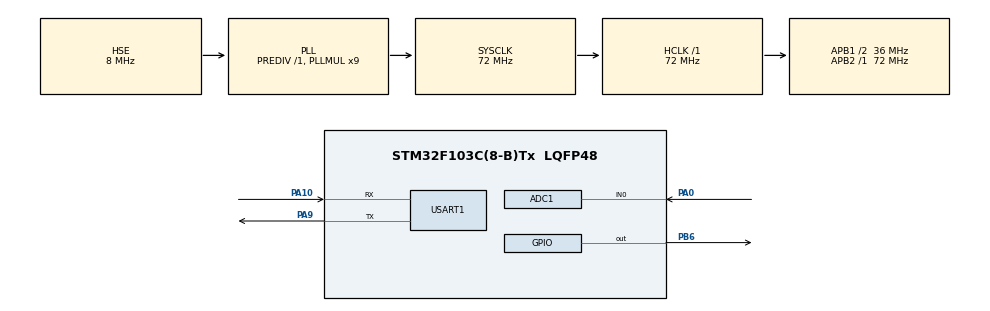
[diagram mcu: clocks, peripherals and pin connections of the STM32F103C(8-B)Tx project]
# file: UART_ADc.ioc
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ADC1.Channel-1\#ChannelRegularConversion=ADC_CHANNEL_0
ADC1.ContinuousConvMode=DISABLE
ADC1.ExternalTrigConv=ADC_EXTERNALTRIGCONV_T3_TRGO
ADC1.NbrOfConversionFlag=1
ADC1.Rank-1\#ChannelRegularConversion=1
ADC1.SamplingTime-1\#ChannelRegularConversion=ADC_SAMPLETIME_71CYCLES_5
ADC1.master=1
Dma.ADC1.0.Direction=DMA_PERIPH_TO_MEMORY
Dma.ADC1.0.Instance=DMA1_Channel1
Dma.ADC1.0.MemDataAlignment=DMA_MDATAALIGN_HALFWORD
Dma.ADC1.0.MemInc=DMA_MINC_ENABLE
Dma.ADC1.0.Mode=DMA_CIRCULAR
Dma.ADC1.0.PeriphDataAlignment=DMA_PDATAALIGN_HALFWORD
Dma.ADC1.0.PeriphInc=DMA_PINC_DISABLE
Dma.ADC1.0.Priority=DMA_PRIORITY_LOW
Dma.Request0=ADC1
Mcu.Family=STM32F1
Mcu.Name=STM32F103C(8-B)Tx
Mcu.Package=LQFP48
NVIC.DMA1_Channel1_IRQn=true\:0\:0\:false\:false\:true\:false\:true\:true
NVIC.PriorityGroup=NVIC_PRIORITYGROUP_4
PA0-WKUP.Signal=ADCx_IN0
PA10.Mode=Asynchronous
PA10.Signal=USART1_RX
PA13.Mode=Serial_Wire
PA13.Signal=SYS_JTMS-SWDIO
PA14.Mode=Serial_Wire
PA14.Signal=SYS_JTCK-SWCLK
PA9.Mode=Asynchronous
PA9.Signal=USART1_TX
PB6.Signal=GPIO_Output
PD0-OSC_IN.Mode=HSE-External-Oscillator
PD0-OSC_IN.Signal=RCC_OSC_IN
PD1-OSC_OUT.Mode=HSE-External-Oscillator
PD1-OSC_OUT.Signal=RCC_OSC_OUT
ProjectManager.HeapSize=0x200
ProjectManager.StackSize=0x400
ProjectManager.TargetToolchain=STM32CubeIDE
RCC.ADCPresc=RCC_ADCPCLK2_DIV6
RCC.AHBFreq_Value=72000000
RCC.APB1CLKDivider=RCC_HCLK_DIV2
RCC.APB1Freq_Value=36000000
RCC.APB1TimFreq_Value=72000000
RCC.APB2Freq_Value=72000000
RCC.APB2TimFreq_Value=72000000
RCC.HCLKFreq_Value=72000000
RCC.PLLMUL=RCC_PLL_MUL9
RCC.PLLSourceVirtual=RCC_PLLSOURCE_HSE
RCC.SYSCLKFreq_VALUE=72000000
RCC.SYSCLKSource=RCC_SYSCLKSOURCE_PLLCLK
RCC.USBFreq_Value=72000000
SH.ADCx_IN0.0=ADC1_IN0,IN0
TIM3.Period=99
TIM3.Prescaler=7199
TIM3.TIM_MasterOutputTrigger=TIM_TRGO_UPDATE
USART1.VirtualMode=VM_ASYNC
VP_TIM3_VS_ClockSourceINT.Mode=Internal
board=custom

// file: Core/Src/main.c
/* USER CODE BEGIN Header */
/**
  ******************************************************************************
  * @file           : main.c
  * @brief          : Main program body
  ******************************************************************************
  * @attention
  *
  * Copyright (c) 2026 STMicroelectronics.
  * All rights reserved.
  *
  * This software is licensed under terms that can be found in the LICENSE file
  * in the root directory of this software component.
  * If no LICENSE file comes with this software, it is provided AS-IS.
  *
  ******************************************************************************
  */
/* USER CODE END Header */
#include "main.h"

/* USER CODE BEGIN Includes */

#include <stdio.h>
#include <string.h>

/* USER CODE END Includes */

ADC_HandleTypeDef hadc1;
DMA_HandleTypeDef hdma_adc1;

TIM_HandleTypeDef htim3;

UART_HandleTypeDef huart1;

/* USER CODE BEGIN PV */
//uint32_t adc_value = 0;
char msg[50];

#define ADC_BUFFER_SIZE 32

uint16_t adc_buffer[ADC_BUFFER_SIZE];

volatile uint8_t adc_ready = 0;
volatile uint8_t adc_half_ready = 0;
/* USER CODE END PV */

void SystemClock_Config(void);
static void MX_GPIO_Init(void);
static void MX_DMA_Init(void);
static void MX_ADC1_Init(void);
static void MX_USART1_UART_Init(void);
static void MX_TIM3_Init(void);
/* USER CODE BEGIN PFP */
uint16_t compute_avg(uint16_t *buffer, uint16_t size);
float to_voltage(uint16_t adc);
void process_output(float voltage);
/* USER CODE END PFP */

int main(void)
{

  /* MCU Configuration--------------------------------------------------------*/

  /* Reset of all peripherals, Initializes the Flash interface and the Systick. */
  HAL_Init();

  /* Configure the system clock */
  SystemClock_Config();

  /* Initialize all configured peripherals */
  MX_GPIO_Init();
  MX_DMA_Init();
  MX_ADC1_Init();
  MX_USART1_UART_Init();
  MX_TIM3_Init();
  /* USER CODE BEGIN 2 */
  HAL_TIM_Base_Start(&htim3);
  HAL_ADC_Start_DMA(&hadc1, (uint32_t*)adc_buffer, ADC_BUFFER_SIZE);

  /* USER CODE END 2 */

  /* Infinite loop */
  /* USER CODE BEGIN WHILE */
  while (1)
  {

	  if (adc_half_ready){
		  adc_half_ready = 0;
		  uint16_t avg = compute_avg(&adc_buffer[0], ADC_BUFFER_SIZE / 2);
		  float voltage = to_voltage(avg);
		  process_output(voltage);
	  }

	  if (adc_ready){
		  adc_ready = 0;
		  uint16_t avg = compute_avg(&adc_buffer[ADC_BUFFER_SIZE / 2], ADC_BUFFER_SIZE / 2);
		  float voltage = to_voltage(avg);
		  process_output(voltage);
	  }
    /* USER CODE END WHILE */

  }
}

void SystemClock_Config(void)
{
  RCC_OscInitTypeDef RCC_OscInitStruct = {0};
  RCC_ClkInitTypeDef RCC_ClkInitStruct = {0};
  RCC_PeriphCLKInitTypeDef PeriphClkInit = {0};

  /** Initializes the RCC Oscillators according to the specified parameters
  * in the RCC_OscInitTypeDef structure.
  */
  RCC_OscInitStruct.OscillatorType = RCC_OSCILLATORTYPE_HSE;
  RCC_OscInitStruct.HSEState = RCC_HSE_ON;
  RCC_OscInitStruct.HSEPredivValue = RCC_HSE_PREDIV_DIV1;
  RCC_OscInitStruct.HSIState = RCC_HSI_ON;
  RCC_OscInitStruct.PLL.PLLState = RCC_PLL_ON;
  RCC_OscInitStruct.PLL.PLLSource = RCC_PLLSOURCE_HSE;
  RCC_OscInitStruct.PLL.PLLMUL = RCC_PLL_MUL9;
  if (HAL_RCC_OscConfig(&RCC_OscInitStruct) != HAL_OK)
  {
    Error_Handler();
  }

  /** Initializes the CPU, AHB and APB buses clocks
  */
  RCC_ClkInitStruct.ClockType = RCC_CLOCKTYPE_HCLK|RCC_CLOCKTYPE_SYSCLK
                              |RCC_CLOCKTYPE_PCLK1|RCC_CLOCKTYPE_PCLK2;
  RCC_ClkInitStruct.SYSCLKSource = RCC_SYSCLKSOURCE_PLLCLK;
  RCC_ClkInitStruct.AHBCLKDivider = RCC_SYSCLK_DIV1;
  RCC_ClkInitStruct.APB1CLKDivider = RCC_HCLK_DIV2;
  RCC_ClkInitStruct.APB2CLKDivider = RCC_HCLK_DIV1;

  if (HAL_RCC_ClockConfig(&RCC_ClkInitStruct, FLASH_LATENCY_2) != HAL_OK)
  {
    Error_Handler();
  }
  PeriphClkInit.PeriphClockSelection = RCC_PERIPHCLK_ADC;
  PeriphClkInit.AdcClockSelection = RCC_ADCPCLK2_DIV6;
  if (HAL_RCCEx_PeriphCLKConfig(&PeriphClkInit) != HAL_OK)
  {
    Error_Handler();
  }
}

static void MX_ADC1_Init(void)
{

  ADC_ChannelConfTypeDef sConfig = {0};

  /** Common config
  */
  hadc1.Instance = ADC1;
  hadc1.Init.ScanConvMode = ADC_SCAN_DISABLE;
  hadc1.Init.ContinuousConvMode = DISABLE;
  hadc1.Init.DiscontinuousConvMode = DISABLE;
  hadc1.Init.ExternalTrigConv = ADC_EXTERNALTRIGCONV_T3_TRGO;
  hadc1.Init.DataAlign = ADC_DATAALIGN_RIGHT;
  hadc1.Init.NbrOfConversion = 1;
  if (HAL_ADC_Init(&hadc1) != HAL_OK)
  {
    Error_Handler();
  }

  /** Configure Regular Channel
  */
  sConfig.Channel = ADC_CHANNEL_0;
  sConfig.Rank = ADC_REGULAR_RANK_1;
  sConfig.SamplingTime = ADC_SAMPLETIME_71CYCLES_5;
  if (HAL_ADC_ConfigChannel(&hadc1, &sConfig) != HAL_OK)
  {
    Error_Handler();
  }

}

static void MX_TIM3_Init(void)
{

  TIM_ClockConfigTypeDef sClockSourceConfig = {0};
  TIM_MasterConfigTypeDef sMasterConfig = {0};

  htim3.Instance = TIM3;
  htim3.Init.Prescaler = 7199;
  htim3.Init.CounterMode = TIM_COUNTERMODE_UP;
  htim3.Init.Period = 99;
  htim3.Init.ClockDivision = TIM_CLOCKDIVISION_DIV1;
  htim3.Init.AutoReloadPreload = TIM_AUTORELOAD_PRELOAD_DISABLE;
  if (HAL_TIM_Base_Init(&htim3) != HAL_OK)
  {
    Error_Handler();
  }
  sClockSourceConfig.ClockSource = TIM_CLOCKSOURCE_INTERNAL;
  if (HAL_TIM_ConfigClockSource(&htim3, &sClockSourceConfig) != HAL_OK)
  {
    Error_Handler();
  }
  sMasterConfig.MasterOutputTrigger = TIM_TRGO_UPDATE;
  sMasterConfig.MasterSlaveMode = TIM_MASTERSLAVEMODE_DISABLE;
  if (HAL_TIMEx_MasterConfigSynchronization(&htim3, &sMasterConfig) != HAL_OK)
  {
    Error_Handler();
  }

}

static void MX_USART1_UART_Init(void)
{

  huart1.Instance = USART1;
  huart1.Init.BaudRate = 115200;
  huart1.Init.WordLength = UART_WORDLENGTH_8B;
  huart1.Init.StopBits = UART_STOPBITS_1;
  huart1.Init.Parity = UART_PARITY_NONE;
  huart1.Init.Mode = UART_MODE_TX_RX;
  huart1.Init.HwFlowCtl = UART_HWCONTROL_NONE;
  huart1.Init.OverSampling = UART_OVERSAMPLING_16;
  if (HAL_UART_Init(&huart1) != HAL_OK)
  {
    Error_Handler();
  }

}

static void MX_DMA_Init(void)
{

  /* DMA controller clock enable */
  __HAL_RCC_DMA1_CLK_ENABLE();

  /* DMA interrupt init */
  /* DMA1_Channel1_IRQn interrupt configuration */
  HAL_NVIC_SetPriority(DMA1_Channel1_IRQn, 0, 0);
  HAL_NVIC_EnableIRQ(DMA1_Channel1_IRQn);

}

static void MX_GPIO_Init(void)
{
  GPIO_InitTypeDef GPIO_InitStruct = {0};

  /* GPIO Ports Clock Enable */
  __HAL_RCC_GPIOD_CLK_ENABLE();
  __HAL_RCC_GPIOA_CLK_ENABLE();
  __HAL_RCC_GPIOB_CLK_ENABLE();

  /*Configure GPIO pin Output Level */
  HAL_GPIO_WritePin(GPIOB, GPIO_PIN_6, GPIO_PIN_RESET);

  /*Configure GPIO pin : PB6 */
  GPIO_InitStruct.Pin = GPIO_PIN_6;
  GPIO_InitStruct.Mode = GPIO_MODE_OUTPUT_PP;
  GPIO_InitStruct.Pull = GPIO_NOPULL;
  GPIO_InitStruct.Speed = GPIO_SPEED_FREQ_LOW;
  HAL_GPIO_Init(GPIOB, &GPIO_InitStruct);

}

/* USER CODE BEGIN 4 */
void HAL_ADC_ConvHalfCpltCallback(ADC_HandleTypeDef* hadc)
{
    if (hadc->Instance == ADC1)
    {
        adc_half_ready = 1;
    }
}

void HAL_ADC_ConvCpltCallback(ADC_HandleTypeDef* hadc)
{
    if (hadc->Instance == ADC1)
    {
        adc_ready = 1;
    }
}

uint16_t compute_avg(uint16_t *buffer, uint16_t size)
{
    uint32_t sum = 0;

    for (int i = 0; i < size; i++)
        sum += buffer[i];

    return sum / size;
}

float to_voltage(uint16_t adc)
{
    return (adc * 3.3f) / 4095.0f;
}

void process_output(float voltage)
{
    char msg[64];

    if (voltage >= 1.5f)
        HAL_GPIO_WritePin(GPIOB, GPIO_PIN_6, GPIO_PIN_SET);
    else
        HAL_GPIO_WritePin(GPIOB, GPIO_PIN_6, GPIO_PIN_RESET);

    sprintf(msg, "V: %.2f\r\n", voltage);
    HAL_UART_Transmit(&huart1, (uint8_t*)msg, strlen(msg), 100);
}
/* USER CODE END 4 */

void Error_Handler(void)
{
  __disable_irq();
  while (1)
  {
  }
}
